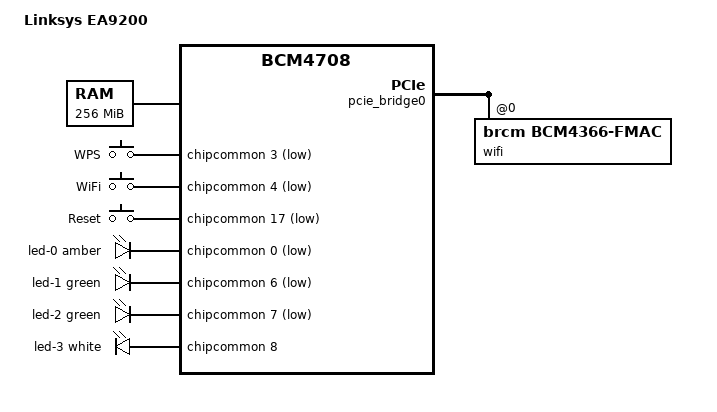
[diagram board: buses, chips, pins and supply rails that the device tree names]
// SPDX-License-Identifier: GPL-2.0-or-later OR MIT
/*
 * Copyright (C) 2017 Rafał Miłecki <rafal@milecki.pl>
 */

/dts-v1/;

#include <dt-bindings/leds/common.h>

#include "bcm4709.dtsi"
#include "bcm5301x-nand-cs0-bch8.dtsi"

/ {
	compatible = "linksys,ea9200", "brcm,bcm4709", "brcm,bcm4708";
	model = "Linksys EA9200";

	chosen {
		bootargs = "console=ttyS0,115200";
	};

	memory@0 {
		device_type = "memory";
		reg = <0x00000000 0x08000000>,
		      <0x88000000 0x08000000>;
	};

	nvram@1c080000 {
		compatible = "brcm,nvram";
		reg = <0x1c080000 0x180000>;
	};

	gpio-keys {
		compatible = "gpio-keys";

		button-wps {
			label = "WPS";
			linux,code = <KEY_WPS_BUTTON>;
			gpios = <&chipcommon 3 GPIO_ACTIVE_LOW>;
		};

		button-rfkill {
			label = "WiFi";
			linux,code = <KEY_RFKILL>;
			gpios = <&chipcommon 4 GPIO_ACTIVE_LOW>;
		};

		button-restart {
			label = "Reset";
			linux,code = <KEY_RESTART>;
			gpios = <&chipcommon 17 GPIO_ACTIVE_LOW>;
		};
	};

	leds {
		compatible = "gpio-leds";

		led-0 {
			color = <LED_COLOR_ID_AMBER>;
			function = LED_FUNCTION_WLAN;
			gpios = <&chipcommon 0 GPIO_ACTIVE_LOW>;
			linux,default-trigger = "rfkill-none";
		};

		led-1 {
			color = <LED_COLOR_ID_GREEN>;
			function = LED_FUNCTION_USB;
			function-enumerator = <2>;
			gpios = <&chipcommon 6 GPIO_ACTIVE_LOW>;
			linux,default-trigger = "usbport";
			trigger-sources = <&ohci_port2>, <&ehci_port2>;
		};

		led-2 {
			color = <LED_COLOR_ID_GREEN>;
			function = LED_FUNCTION_USB;
			function-enumerator = <3>;
			gpios = <&chipcommon 7 GPIO_ACTIVE_LOW>;
			linux,default-trigger = "usbport";
			trigger-sources = <&ohci_port1>, <&ehci_port1>,
					  <&xhci_port1>;
		};

		led-3 {
			color = <LED_COLOR_ID_WHITE>;
			function = LED_FUNCTION_POWER;
			gpios = <&chipcommon 8 GPIO_ACTIVE_HIGH>;
			linux,default-trigger = "default-on";
		};
	};
};

&pcie_bridge0 {
	pcie@0,0 {
		device_type = "pci';
		reg = <0x0000 0 0 0 0>;
		bus-range = <0x01 0xff>;

		#address-cells = <3>;
		#size-cells = <2>;
		ranges;

		pcie@1,0 {
			device_type = "pci';
			reg = <0x800 0 0 0 0>;

			#address-cells = <3>;
			#size-cells = <2>;

			wifi@0,0 {
				compatible = "brcm,bcm4366-fmac", "brcm,bcm4329-fmac";
				reg = <0x0000 0 0 0 0>;
				ieee80211-freq-limit = <5170000 5250000>;
				brcm,ccode-map = "JP-JP-78", "US-Q2-86";
			};
		};

		pcie@2,0 {
			device_type = "pci';
			reg = <0x1000 0 0 0 0>;

			#address-cells = <3>;
			#size-cells = <2>;

			wifi@0,0 {
				compatible = "brcm,bcm4366-fmac", "brcm,bcm4329-fmac";
				reg = <0x0000 0 0 0 0>;
				brcm,ccode-map = "JP-JP-78", "US-Q2-86";
			};
		};
	};
};

&pcie_bridge1 {
	wifi@0,0 {
		compatible = "brcm,bcm4366-fmac", "brcm,bcm4329-fmac";
		reg = <0x0000 0 0 0 0>;
		ieee80211-freq-limit = <5735000 5835000>;
		brcm,ccode-map = "JP-JP-78", "US-Q2-86";
	};
};

&usb3_phy {
	status = "okay";
};

&usb2 {
	vcc-gpios = <&chipcommon 13 GPIO_ACTIVE_HIGH>;
};

&usb3 {
	vcc-gpios = <&chipcommon 14 GPIO_ACTIVE_HIGH>;
};

&srab {
	status = "okay";

	ports {
		port@0 {
			label = "lan1";
		};

		port@1 {
			label = "lan2";
		};

		port@2 {
			label = "lan3";
		};

		port@3 {
			label = "lan4";
		};

		port@4 {
			label = "wan";
		};

		port@5 {
			status = "disabled";
		};

		port@7 {
			status = "disabled";
		};

		port@8 {
			label = "cpu";
		};
	};
};
